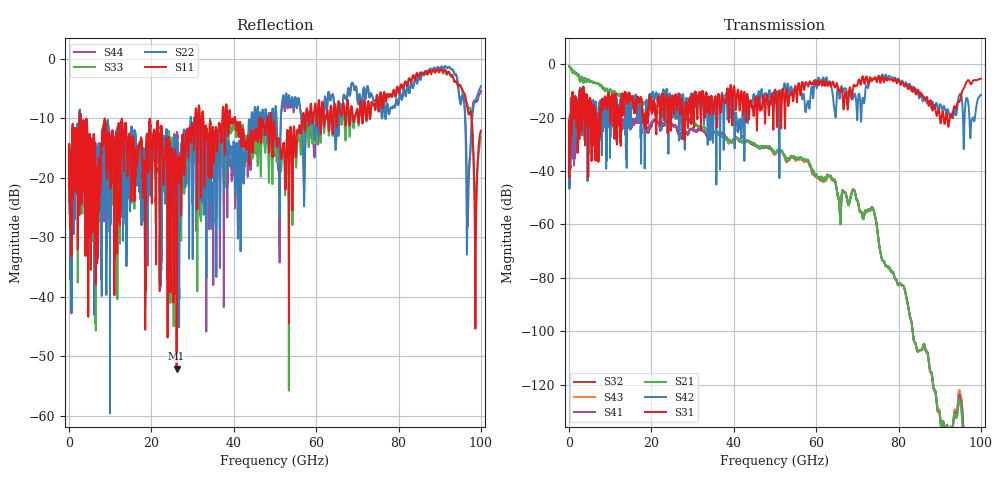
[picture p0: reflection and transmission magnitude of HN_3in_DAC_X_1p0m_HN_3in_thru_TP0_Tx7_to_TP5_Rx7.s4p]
# GHz S RI R 45
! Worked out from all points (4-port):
!   4000 points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, 25 MHz to 100 GHz, reference 45 ohm
!   strongest paths, dB at 25 MHz, 25.02 GHz, 50.02 GHz, 75.03 GHz, 100 GHz:
!     S31: -21.7, -12.0, -9.7, -4.9, -5.5
!     S42: -21.7, -14.4, -14.5, -5.1, -11.5
!     S21: -0.8, -19.6, -33.1, -64.2, -184.3
!     S41: -34.9, -22.4, -33.3, -64.2, -194.9
!     S43: -0.8, -20.0, -33.5, -64.2, -187.3
!     S32: -34.9, -22.7, -33.2, -64.2, -178.6
!   lowest |S11| = -52.1 dB at 26.12 GHz (marker M1), VSWR 1.00, Z = 45 - j0.22 ohm
!   |S11| at or under -10 dB: 2.833 GHz to 30.64 GHz (27.8 GHz wide, 166 % of centre); 40.33 GHz to 46.19 GHz (5.862 GHz wide, 13.5 % of centre); 49.12 GHz to 56.71 GHz (7.588 GHz wide, 14.3 % of centre)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
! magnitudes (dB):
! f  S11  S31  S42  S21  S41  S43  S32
! 25 MHz  -15.1  -21.7  -21.7  -0.8  -34.9  -0.8  -34.9
! 26.12 GHz  -52.1  -14.9  -17.5  -20.0  -23.5  -20.0  -24.2
! 69.1 GHz  -10.6  -7.9  -12.2  -47.2  -47.2  -47.0  -47.0
! 79.4 GHz  -5.9  -6.4  -5.8  -80.7  -80.7  -80.6  -80.6
! 92.85 GHz  -2.7  -19.9  -18.6  -136.2  -136.4  -136.5  -136.3
! 96.9 GHz  -9.0  -6.0  -14.2  -147.7  -162.6  -162.5  -146.6
! 100 GHz  -12.1  -5.5  -11.5  -184.3  -194.9  -187.3  -178.6
